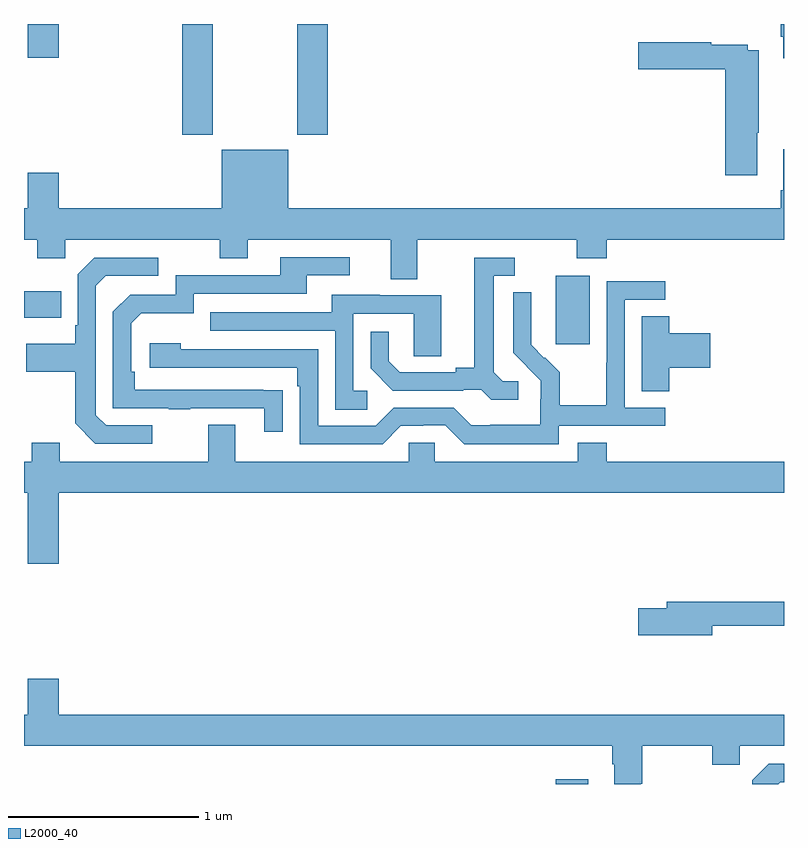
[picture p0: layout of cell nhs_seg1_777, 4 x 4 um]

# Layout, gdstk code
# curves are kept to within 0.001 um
import gdstk
lib = gdstk.Library(unit=1e-6, precision=1e-09)
def R(c, l, rs):  # rectangles x0, y0, x1, y1
    for r in rs: c.add(gdstk.rectangle(r[:2], r[2:], *l))
def P(c, l, *ps):  # polygons
    for p in ps: c.add(gdstk.Polygon(p, *l))
L2000_40 = (2000, 40)

nhs_seg1_777 = lib.new_cell('nhs_seg1_777')
R(nhs_seg1_777, L2000_40, [(155.798,550.199,155.971,550.225), (155.798,552.513,155.977,552.874), (153,552.653,153.197,552.793), (153.833,553.617,153.993,554.199), (154.438,553.617,154.598,554.199), (153.02,554.022,153.184,554.199)])
P(nhs_seg1_777, L2000_40, [(157,554.199),(156.983,554.199),(156.983,554.131),(156.995,554.131),(156.995,554.019),(157,554.019)],
  [(156.859,553.627),(156.867,553.627),(156.867,554.062),(156.81,554.062),(156.81,554.091),(156.618,554.091),(156.618,554.103),(156.234,554.103),(156.234,553.961),(156.692,553.961),(156.692,553.404),(156.859,553.404)],
  [(154.04,553.537),(154.04,553.228),(153.184,553.228),(153.184,553.417),(153.02,553.417),(153.02,553.228),(153,553.228),(153,553.064),(153.07,553.064),(153.07,552.965),(153.216,552.965),(153.216,553.064),(154.03,553.064),(154.03,552.965),(154.177,552.965),(154.177,553.064),(154.931,553.064),(154.931,552.856),(155.071,552.856),(155.071,553.064),(155.908,553.064),(155.908,552.965),(156.068,552.965),(156.068,553.064),(157,553.064),(157,553.54),(156.995,553.54),(156.995,553.324),(156.983,553.324),(156.983,553.228),(154.39,553.228),(154.39,553.537)],
  [(154.361,552.272),(153.584,552.273),(153.584,552.37),(153.564,552.37),(153.564,552.624),(153.617,552.677),(153.894,552.677),(153.894,552.78),(154.489,552.78),(154.489,552.876),(154.714,552.876),(154.714,552.972),(154.349,552.972),(154.349,552.876),(153.798,552.876),(153.798,552.774),(153.558,552.774),(153.468,552.684),(153.468,552.177),(153.763,552.177),(153.763,552.172),(153.875,552.172),(153.875,552.177),(154.265,552.177),(154.265,552.054),(154.361,552.054)],
  [(153.676,552.087),(153.432,552.087),(153.378,552.141),(153.378,552.822),(153.429,552.873),(153.706,552.873),(153.706,552.969),(153.369,552.969),(153.282,552.882),(153.282,552.613),(153.27,552.613),(153.27,552.517),(153.013,552.517),(153.013,552.37),(153.27,552.37),(153.27,552.097),(153.375,551.991),(153.676,551.991)],
  [(155.602,552.318),(155.52,552.318),(155.473,552.365),(155.473,552.873),(155.584,552.873),(155.584,552.969),(155.369,552.969),(155.369,552.389),(155.273,552.389),(155.273,552.366),(154.978,552.366),(154.921,552.423),(154.921,552.58),(154.824,552.58),(154.824,552.386),(154.94,552.27),(155.312,552.27),(155.312,552.273),(155.406,552.273),(155.458,552.221),(155.602,552.221)],
  [(155.814,552.084),(156.376,552.084),(156.376,552.18),(156.162,552.18),(156.162,552.747),(156.376,552.747),(156.376,552.846),(156.066,552.846),(156.066,552.416),(156.064,552.416),(156.064,552.193),(155.819,552.193),(155.819,552.367),(155.742,552.444),(155.739,552.441),(155.669,552.512),(155.67,552.788),(155.574,552.788),(155.574,552.47),(155.72,552.322),(155.72,552.225),(155.718,552.225),(155.718,552.091),(155.455,552.091),(155.455,552.087),(155.355,552.087),(155.262,552.18),(154.947,552.18),(154.851,552.084),(154.548,552.084),(154.548,552.486),(153.824,552.486),(153.824,552.52),(153.663,552.52),(153.663,552.39),(154.439,552.39),(154.439,552.293),(154.452,552.293),(154.452,551.988),(154.887,551.988),(154.983,552.084),(155.102,552.084),(155.102,552.087),(155.217,552.087),(155.317,551.987),(155.814,551.987)],
  [(154.807,552.27),(154.734,552.27),(154.734,552.675),(155.052,552.675),(155.052,552.451),(155.197,552.451),(155.197,552.771),(154.873,552.771),(154.873,552.775),(154.619,552.775),(154.619,552.681),(153.979,552.681),(153.979,552.585),(154.638,552.585),(154.638,552.169),(154.807,552.169)],
  [(156.395,552.389),(156.613,552.389),(156.613,552.572),(156.395,552.572),(156.395,552.662),(156.251,552.662),(156.251,552.265),(156.395,552.265)],
  [(157,551.896),(156.068,551.896),(156.068,551.995),(155.915,551.995),(155.915,551.896),(155.163,551.896),(155.163,551.994),(155.025,551.994),(155.025,551.896),(154.111,551.896),(154.111,552.091),(153.971,552.091),(153.971,551.896),(153.187,551.896),(153.187,551.995),(153.04,551.995),(153.04,551.896),(153,551.896),(153,551.732),(153.02,551.732),(153.02,551.358),(153.184,551.358),(153.184,551.732),(157,551.732)],
  [(156.622,551.031),(157,551.031),(157,551.159),(156.383,551.159),(156.383,551.123),(156.234,551.123),(156.234,550.981),(156.622,550.981)],
  [(153.184,550.753),(153.02,550.753),(153.02,550.564),(153,550.564),(153,550.4),(156.095,550.4),(156.095,550.304),(156.107,550.304),(156.107,550.199),(156.247,550.199),(156.247,550.201),(156.255,550.201),(156.255,550.4),(156.622,550.4),(156.622,550.301),(156.768,550.301),(156.768,550.4),(157,550.4),(157,550.564),(153.184,550.564)],
  [(156.981,550.209),(157,550.209),(157,550.305),(156.921,550.305),(156.834,550.218),(156.834,550.199),(156.971,550.199)])

lib.write_gds('nhs_seg1_777.gds')
